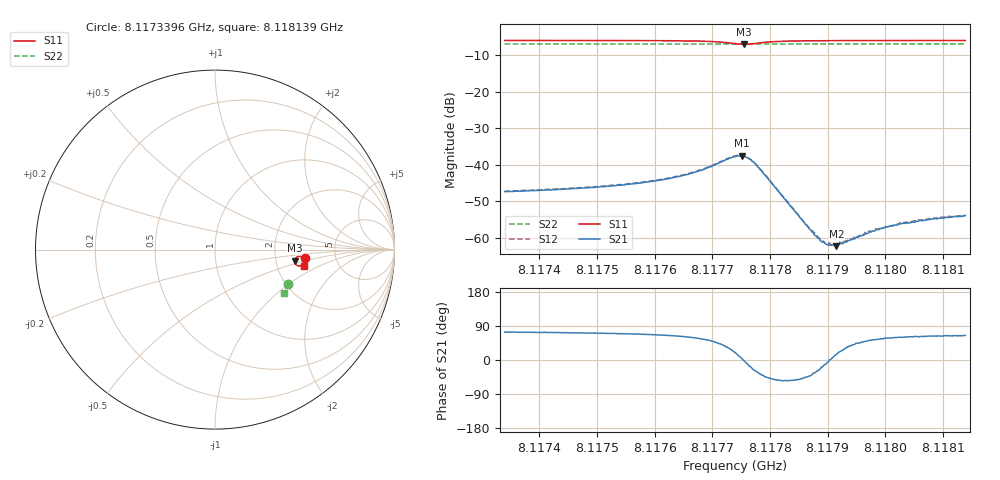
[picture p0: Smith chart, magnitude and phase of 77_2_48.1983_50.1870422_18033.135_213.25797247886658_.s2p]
#  HZ  S  RI  R  50.00
! Rohde & Schwarz Vector Network Analyzer
! Rohde-Schwarz,ZNB20-2Port,1311601062101988,3.16
! Created: UTC 3/20/2024, 11:39:31 AM
! freq[Hz]  re:S11  im:S11  re:S21  im:S21  re:S12  im:S12  re:S22  im:S22
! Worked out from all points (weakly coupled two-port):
!   401 points, 8.1173396 GHz to 8.118139 GHz, reference 50 ohm
!   highest |S21| = -37.50 dB at 8.1177513 GHz (marker M1); lowest = -62.3 dB at 8.1179152 GHz (marker M2)
!   lowest |S11| = -7.0 dB at 8.1177553 GHz (marker M3), VSWR 2.62, Z = 127 - j19.7 ohm
!   |S11| at or under -10 dB: nowhere
!   |S22| runs from -6.9 to -6.9 dB; largest |S21 - S12| = 0.00047
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8.11733961e9  0.5035 -0.0441  0.0012 0.0041  0.00127 0.00417  0.4089 -0.1918
8.11747351e9  0.5017 -0.0562  0.00154 0.00454  0.0016 0.0046  0.4051 -0.2005
8.11754346e9  0.5 -0.0636  0.00188 0.00492  0.00195 0.00499  0.4029 -0.2049
8.11760742e9  0.497 -0.0717  0.0025 0.00559  0.00258 0.00565  0.4011 -0.2092
8.11766937e9  0.49 -0.0827  0.00412 0.00672  0.00427 0.00679  0.3989 -0.2133
8.11773932e9  0.45 -0.0826  0.0121 0.00425  0.0126 0.00429  0.395 -0.217
8.11775131e9  0.4432 -0.0677  0.0133 0.00083  0.0135 0.000713  0.3945 -0.2169
8.11775531e9  0.4432 -0.0617  0.0131 -0.000563  0.0133 -0.00075  0.3944 -0.2169
8.1177673e9  0.4507 -0.0458  0.011 -0.00384  0.0111 -0.00404  0.3947 -0.2171
8.11777729e9  0.4615 -0.039  0.00828 -0.00501  0.00841 -0.00531  0.3949 -0.2173
8.11781327e9  0.4881 -0.0447  0.00268 -0.00355  0.00268 -0.00364  0.3949 -0.2201
8.11785324e9  0.496 -0.0564  0.00119 -0.00139  0.00118 -0.00146  0.394 -0.2231
8.11787322e9  0.4975 -0.061  0.000941 -0.000734  0.001 -0.000747  0.3934 -0.2244
8.11788721e9  0.4981 -0.0636  0.000838 -0.000364  0.000875 -0.000394  0.3929 -0.2253
8.11789521e9  0.4982 -0.065  0.000826 -0.00018  0.000816 -0.000197  0.3926 -0.2259
8.1179012e9  0.4983 -0.066  0.000786 -7.24e-05  0.000818 -9.58e-05  0.3925 -0.2264
8.1179092e9  0.4985 -0.0672  0.000783 9.64e-05  0.00081 0.000119  0.3922 -0.2269
8.11791519e9  0.4984 -0.0682  0.000742 0.00019  0.000766 0.000209  0.3921 -0.2272
8.11796916e9  0.4984 -0.0752  0.000733 0.000877  0.000742 0.000896  0.3901 -0.2307
8.11800713e9  0.4981 -0.0794  0.000773 0.00122  0.000763 0.00122  0.389 -0.2332
8.11805509e9  0.4978 -0.0844  0.000788 0.00149  0.000803 0.00151  0.3873 -0.2362
8.11813903e9  0.4966 -0.0919  0.000852 0.00182  0.000882 0.00182  0.3844 -0.2414
